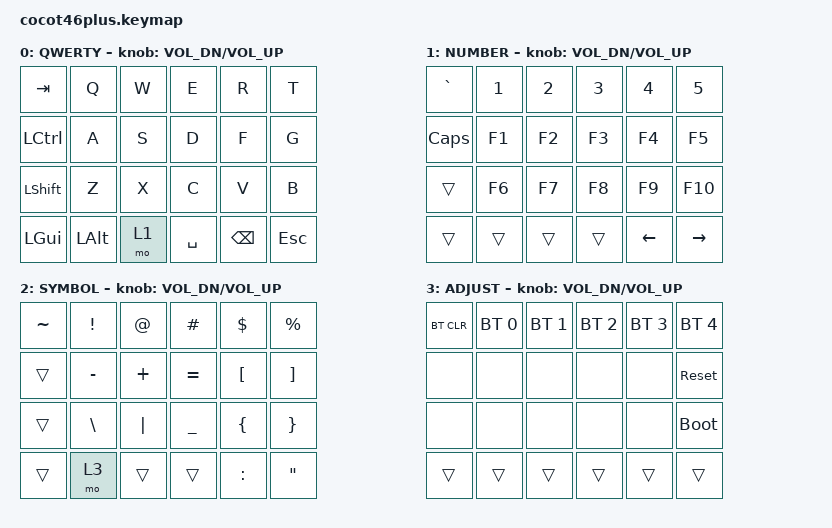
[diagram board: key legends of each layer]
/*
 * Copyright (c) 2024 The ZMK Contributors
 *
 * SPDX-License-Identifier: MIT
 */

#include <behaviors.dtsi>
#include <dt-bindings/zmk/keys.h>
#include <dt-bindings/zmk/bt.h>

/ {
    keymap {
        compatible = "zmk,keymap";

        default_layer {
            label = "QWERTY";
            bindings = <
                &kp TAB   &kp Q   &kp W   &kp E   &kp R   &kp T
                &kp LCTRL &kp A   &kp S   &kp D   &kp F   &kp G
                &kp LSHFT &kp Z   &kp X   &kp C   &kp V   &kp B
                &kp LGUI  &kp LALT &mo 1 &kp SPACE &kp BSPC &kp ESC
            >;
            
            sensor-bindings = <&inc_dec_kp C_VOL_DN C_VOL_UP>;
        };

        lower_layer {
            label = "NUMBER";
            bindings = <
                &kp GRAVE &kp N1   &kp N2   &kp N3   &kp N4   &kp N5
                &kp CAPS  &kp F1   &kp F2   &kp F3   &kp F4   &kp F5
                &trans    &kp F6   &kp F7   &kp F8   &kp F9   &kp F10
                &trans    &trans   &trans   &trans   &kp LEFT &kp RIGHT
            >;
            
            sensor-bindings = <&inc_dec_kp C_VOL_DN C_VOL_UP>;
        };

        raise_layer {
            label = "SYMBOL";
            bindings = <
                &kp TILDE &kp EXCL  &kp AT    &kp HASH  &kp DLLR &kp PRCNT
                &trans    &kp MINUS &kp PLUS  &kp EQUAL &kp LBKT &kp RBKT
                &trans    &kp BSLH  &kp PIPE  &kp UNDER &kp LBRC &kp RBRC
                &trans    &mo 3     &trans    &trans    &kp COLON &kp DQT
            >;
            
            sensor-bindings = <&inc_dec_kp C_VOL_DN C_VOL_UP>;
        };

        adjust_layer {
            label = "ADJUST";
            bindings = <
                &bt BT_CLR &bt BT_SEL 0 &bt BT_SEL 1 &bt BT_SEL 2 &bt BT_SEL 3 &bt BT_SEL 4
                &none      &none        &none        &none        &none        &sys_reset
                &none      &none        &none        &none        &none        &bootloader
                &trans     &trans       &trans       &trans       &trans       &trans
            >;

            sensor-bindings = <&inc_dec_kp C_VOL_DN C_VOL_UP>;
        };
    };
};
